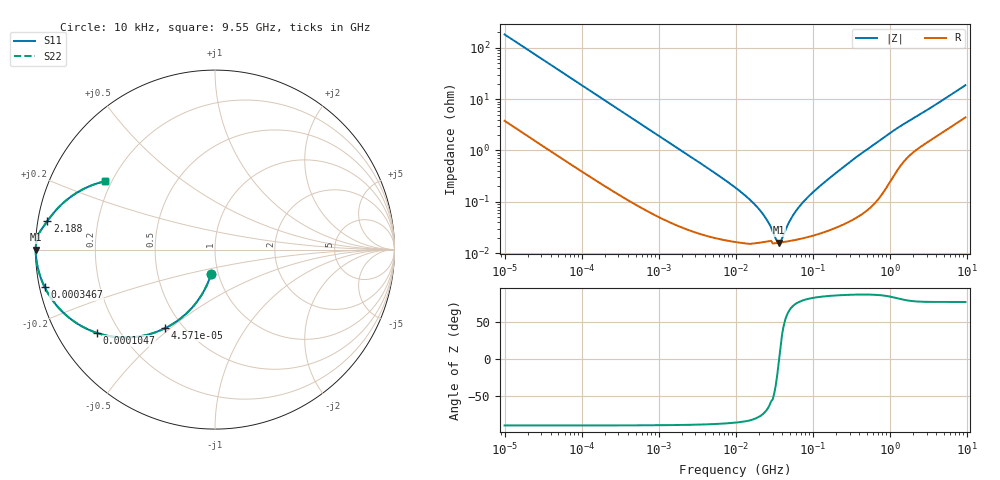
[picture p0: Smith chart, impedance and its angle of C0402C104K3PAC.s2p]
! C0402C104K3PAC
! Temp = 25°C, Bias = 0VDC, Shunt
! KEMET S2P Model
# HZ S DB R 50
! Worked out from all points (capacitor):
!   300 points, 10 kHz to 9.55 GHz, reference 50 ohm
!   read as one part in shunt: C = 87 nF near 10.47 kHz
!   lowest |Z| = 15.9 mohm at 36.31 MHz (marker M1)
!   series resonance near 36.51 MHz, so ESL is about 220 pH
!   S11 on the Smith chart (normalised r, x): 10 kHz: 0.93, -0.25; 45.71 kHz: 0.40, -0.48; 104.7 kHz: 0.12, -0.31; 346.7 kHz: 0.01, -0.11; 2.188 GHz: 0.03, +0.08; 9.55 GHz: 0.17, +0.28
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10000  -17.36 -99.0  -0.11 -7.8  -0.11 -7.8  -17.36 -99.0
23988.34  -10.25 -109.1  -0.49 -17.9  -0.49 -17.9  -10.25 -109.1
45708.8  -5.71 -122.4  -1.47 -31.2  -1.47 -31.2  -5.71 -122.4
100000  -2.03 -143.5  -4.50 -52.3  -4.50 -52.3  -2.03 -143.5
104712.9  -1.89 -144.7  -4.76 -53.5  -4.76 -53.5  -1.89 -144.7
181970.2  -0.76 -157.5  -8.36 -66.3  -8.36 -66.3  -0.76 -157.5
346736.8  -0.25 -167.6  -13.37 -76.3  -13.37 -76.3  -0.25 -167.6
1000000  -0.04 -175.6  -22.24 -84.1  -22.24 -84.1  -0.04 -175.6
1e7  -0.01 -179.6  -42.55 -84.5  -42.55 -84.5  -0.01 -179.6
2.187762e7  -0.01 -179.9  -52.25 -74.5  -52.25 -74.5  -0.01 -179.9
2.630268e7  -0.01 -179.9  -55.83 -65.2  -55.83 -65.2  -0.01 -179.9
3.311311e7  -0.01 -180.0  -62.40 -34.5  -62.40 -34.5  -0.01 -180.0
3.63078e7  -0.01 -180.0  -63.91 -2.1  -63.91 -2.1  -0.01 -180.0
3.801893e7  -0.01 180.0  -63.51 15.5  -63.51 15.5  -0.01 180.0
4.786299e7  -0.01 179.9  -56.64 62.5  -56.64 62.5  -0.01 179.9
5.754402e7  -0.01 179.9  -52.45 72.4  -52.45 72.4  -0.01 179.9
1e8  -0.01 179.7  -44.29 81.4  -44.29 81.4  -0.01 179.7
3.630784e8  -0.02 178.3  -30.64 84.6  -30.64 84.6  -0.02 178.3
1e9  -0.12 175.1  -21.33 78.7  -21.33 78.7  -0.12 175.1
2.187762e9  -0.47 170.3  -15.26 67.4  -15.26 67.4  -0.47 170.3
4.786305e9  -1.21 161.3  -9.63 57.7  -9.63 57.7  -1.21 161.3
9.549916e9  -2.82 148.3  -5.33 44.6  -5.33 44.6  -2.82 148.3
